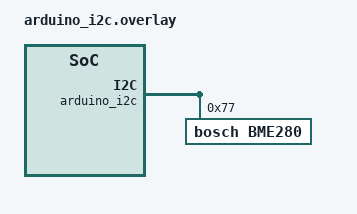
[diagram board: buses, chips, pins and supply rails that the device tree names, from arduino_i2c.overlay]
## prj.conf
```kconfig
CONFIG_SENSOR=y
CONFIG_SENSOR_ASYNC_API=y
```

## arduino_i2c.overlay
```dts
/*
 * Copyright (c) 2020, Nordic Semiconductor ASA
 *
 * SPDX-License-Identifier: Apache-2.0
 */

/*
 * Example configuration of a BME280 device on an Arduino I2C bus.
 *
 * Device address 0x77 is assumed. Your device may have a different
 * address; check your device documentation if unsure.
 */
&arduino_i2c {
	status = "okay";
	bme280@77 {
		compatible = "bosch,bme280";
		reg = <0x77>;
	};
};
```

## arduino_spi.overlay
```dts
/*
 * Copyright (c) 2020, Nordic Semiconductor ASA
 *
 * SPDX-License-Identifier: Apache-2.0
 */

/* Example configuration of a BME280 device on an Arduino SPI bus. */

&arduino_spi {
	status = "okay";
	cs-gpios = <&arduino_header 16 GPIO_ACTIVE_LOW>;
	bme280@0 {
		compatible = "bosch,bme280";
		reg = <0>;
		spi-max-frequency = <1000000>; /* conservatively set to 1MHz */
	};
};
```

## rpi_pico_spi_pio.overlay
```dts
&pinctrl {
	pio0_spi0_default: pio0_spi0_default {
		/* gpio 13 is used for chip select, not assigned to the PIO */
		group1 {
			pinmux = <PIO0_P14>, <PIO0_P15>;
		};
		group2 {
			pinmux = <PIO0_P12>;
			input-enable;
		};
	};
};

&pio0 {
	status = "okay";

	pio0_spi0: pio0_spi0 {
		pinctrl-0 = <&pio0_spi0_default>;
		pinctrl-names = "default";

		compatible = "raspberrypi,pico-spi-pio";
		status = "okay";
		#address-cells = <1>;
		#size-cells = <0>;
		clocks = <&clocks RPI_PICO_CLKID_CLK_SYS>;
		miso-gpios = <&gpio0 12 0>;
		cs-gpios = <&gpio0 13 GPIO_ACTIVE_LOW>;
		clk-gpios = <&gpio0 14 GPIO_ACTIVE_HIGH>;
		mosi-gpios = <&gpio0 15 GPIO_ACTIVE_HIGH>;
		bme280@0 {
			compatible = "bosch,bme280";
			reg = <0>;
			spi-max-frequency = <1000000>; /* conservatively set to 1MHz */
		};
	};
};
```

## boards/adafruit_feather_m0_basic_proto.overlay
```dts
/*
 * Copyright (c) 2020 Jacek Ozimek <jacek.ozmk@gmail.com>
 *
 * SPDX-License-Identifier: Apache-2.0
 */

&feather_i2c {
	bme280: bme280@76 {
		/* 0x76 - SDO <-> GND */
		/* 0x77 - SDO <-> VCC */
		compatible = "bosch,bme280";
		reg = <0x76>;
	};
};
```

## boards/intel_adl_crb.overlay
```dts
/*
 * Copyright (c) 2023 Intel Corporation
 *
 * SPDX-License-Identifier: Apache-2.0
 */

&i2c0 {
	bme280@76 {
		compatible = "bosch,bme280";
		reg = <0x76>;
		status = "okay";
	};
};
```

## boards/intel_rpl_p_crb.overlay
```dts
/*
 * Copyright (c) 2023 Intel Corporation
 *
 * SPDX-License-Identifier: Apache-2.0
 */

&i2c1 {
	bme280@76 {
		compatible = "bosch,bme280";
		reg = <0x76>;
		status = "okay";
	};
};
```

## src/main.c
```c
/*
 * Copyright (c) 2012-2014 Wind River Systems, Inc.
 * Copyright (c) 2021 Nordic Semiconductor ASA
 *
 * SPDX-License-Identifier: Apache-2.0
 */

#include <zephyr/kernel.h>
#include <zephyr/device.h>
#include <zephyr/devicetree.h>
#include <zephyr/drivers/sensor.h>
#include <zephyr/drivers/sensor_data_types.h>
#include <zephyr/rtio/rtio.h>
#include <zephyr/dsp/print_format.h>

/*
 * Get a device structure from a devicetree node with compatible
 * "bosch,bme280". (If there are multiple, just pick one.)
 */
const struct device *const dev = DEVICE_DT_GET_ANY(bosch_bme280);

SENSOR_DT_READ_IODEV(iodev, DT_COMPAT_GET_ANY_STATUS_OKAY(bosch_bme280),
		{SENSOR_CHAN_AMBIENT_TEMP, 0},
		{SENSOR_CHAN_HUMIDITY, 0},
		{SENSOR_CHAN_PRESS, 0});

RTIO_DEFINE(ctx, 1, 1);

static const struct device *check_bme280_device(void)
{
	if (dev == NULL) {
		/* No such node, or the node does not have status "okay". */
		printk("\nError: no device found.\n");
		return NULL;
	}

	if (!device_is_ready(dev)) {
		printk("\nError: Device \"%s\" is not ready; "
		       "check the driver initialization logs for errors.\n",
		       dev->name);
		return NULL;
	}

	printk("Found device \"%s\", getting sensor data\n", dev->name);
	return dev;
}

int main(void)
{
	const struct device *dev = check_bme280_device();

	if (dev == NULL) {
		return 0;
	}

	while (1) {
		uint8_t buf[128];

		int rc = sensor_read(&iodev, &ctx, buf, 128);

		if (rc != 0) {
			printk("%s: sensor_read() failed: %d\n", dev->name, rc);
			return rc;
		}

		const struct sensor_decoder_api *decoder;

		rc = sensor_get_decoder(dev, &decoder);

		if (rc != 0) {
			printk("%s: sensor_get_decode() failed: %d\n", dev->name, rc);
			return rc;
		}

		uint32_t temp_fit = 0;
		struct sensor_q31_data temp_data = {0};

		decoder->decode(buf,
			(struct sensor_chan_spec) {SENSOR_CHAN_AMBIENT_TEMP, 0},
			&temp_fit, 1, &temp_data);

		uint32_t press_fit = 0;
		struct sensor_q31_data press_data = {0};

		decoder->decode(buf,
				(struct sensor_chan_spec) {SENSOR_CHAN_PRESS, 0},
				&press_fit, 1, &press_data);

		uint32_t hum_fit = 0;
		struct sensor_q31_data hum_data = {0};

		decoder->decode(buf,
				(struct sensor_chan_spec) {SENSOR_CHAN_HUMIDITY, 0},
				&hum_fit, 1, &hum_data);

		printk("temp: %s%d.%d; press: %s%d.%d; humidity: %s%d.%d\n",
			PRIq_arg(temp_data.readings[0].temperature, 6, temp_data.shift),
			PRIq_arg(press_data.readings[0].pressure, 6, press_data.shift),
			PRIq_arg(hum_data.readings[0].humidity, 6, hum_data.shift));

		k_sleep(K_MSEC(1000));
	}
	return 0;
}
```
